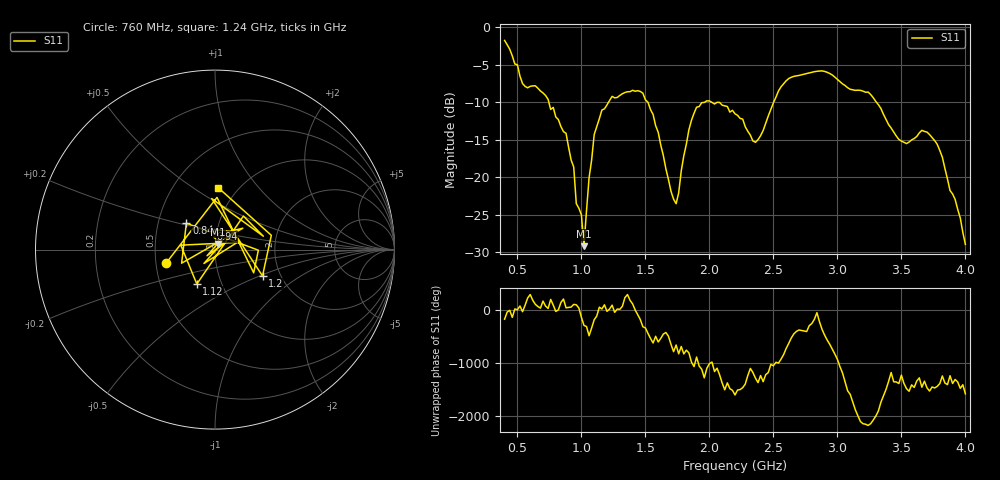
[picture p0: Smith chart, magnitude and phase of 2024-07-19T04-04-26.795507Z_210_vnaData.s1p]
!Created with skrf (http://scikit-rf.org).
# Hz S RI R 50.0
!freq ReS11 ImS11
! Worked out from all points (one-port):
!   181 points, 400 MHz to 4 GHz, reference 50 ohm
!   lowest |S11| = -29.2 dB at 1.02 GHz (marker M1), VSWR 1.07, Z = 51.3 + j3.25 ohm
!   |S11| at or under -10 dB: 745.2 MHz to 1.213 GHz (467.8 MHz wide, 47.8 % of centre); 2.015 GHz to 2.503 GHz (487.4 MHz wide, 21.6 % of centre); 3.304 GHz to end of sweep (the widest 3 of 4)
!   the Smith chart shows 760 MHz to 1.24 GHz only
!   S11 on the Smith chart (normalised r, x): 760 MHz: 0.57, -0.09; 840 MHz: 0.70, +0.22; 940 MHz: 0.93, +0.22; 1.12 GHz: 0.76, -0.31; 1.2 GHz: 1.62, -0.52; 1.24 GHz: 0.81, +0.64
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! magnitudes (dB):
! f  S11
! 400 MHz  -1.8
! 540 MHz  -7.5
! 760 MHz  -11.0
! 840 MHz  -13.3
! 860 MHz  -13.9
! 940 MHz  -18.7
! 960 MHz  -23.5
! 1 GHz  -25.0
! 1.02 GHz  -29.2
! 1.06 GHz  -20.1
! 1.12 GHz  -13.3
! 1.2 GHz  -10.4
! 1.24 GHz  -9.2
! 1.3 GHz  -9.1
! 1.48 GHz  -8.8
! 1.56 GHz  -11.7
! 1.72 GHz  -22.9
! 1.76 GHz  -22.1
! 1.84 GHz  -13.7
! 1.9 GHz  -10.7
! 2.2 GHz  -11.6
! 2.36 GHz  -15.4
! 2.66 GHz  -6.6
! 3.1 GHz  -8.3
! 3.24 GHz  -8.7
! 3.56 GHz  -15.3
! 3.78 GHz  -15.6
! 4 GHz  -29.0
